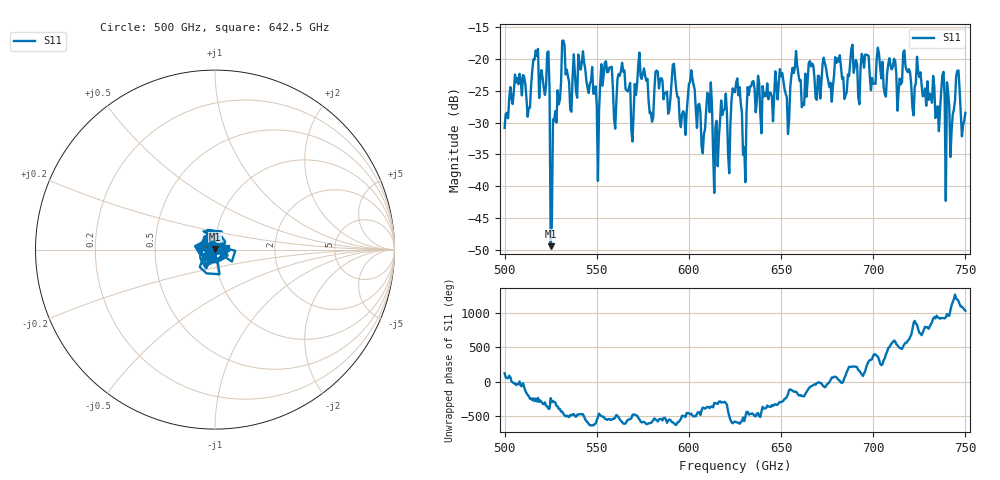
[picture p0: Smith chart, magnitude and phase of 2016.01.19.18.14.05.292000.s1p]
!Created with skrf (http://scikit-rf.org).
# GHz S RI R 50.0
!freq ReS11 ImS11
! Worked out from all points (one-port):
!   401 points, 500 GHz to 750 GHz, reference 50 ohm
!   lowest |S11| = -49.4 dB at 525 GHz (marker M1), VSWR 1.01, Z = 49.8 + j0.294 ohm
!   |S11| at or under -10 dB: start of sweep to end of sweep
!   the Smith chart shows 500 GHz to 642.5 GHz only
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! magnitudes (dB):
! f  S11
! 500 GHz  -30.8
! 506.9 GHz  -23.0
! 513.1 GHz  -27.7
! 516.9 GHz  -18.6
! 523.1 GHz  -19.0
! 525 GHz  -49.4
! 526.2 GHz  -29.5
! 531.2 GHz  -17.1
! 550 GHz  -27.3
! 553.8 GHz  -22.3
! 560 GHz  -30.9
! 562.5 GHz  -22.6
! 570 GHz  -28.4
! 573.8 GHz  -22.6
! 579.4 GHz  -28.4
! 583.1 GHz  -22.0
! 593.8 GHz  -25.9
! 601.9 GHz  -23.0
! 607.5 GHz  -34.8
! 611.2 GHz  -28.3
! 614.4 GHz  -30.7
! 625 GHz  -25.2
! 630 GHz  -33.8
! 633.1 GHz  -24.3
! 656.2 GHz  -21.4
! 687.5 GHz  -20.4
! 718.8 GHz  -22.0
! 750 GHz  -28.4
